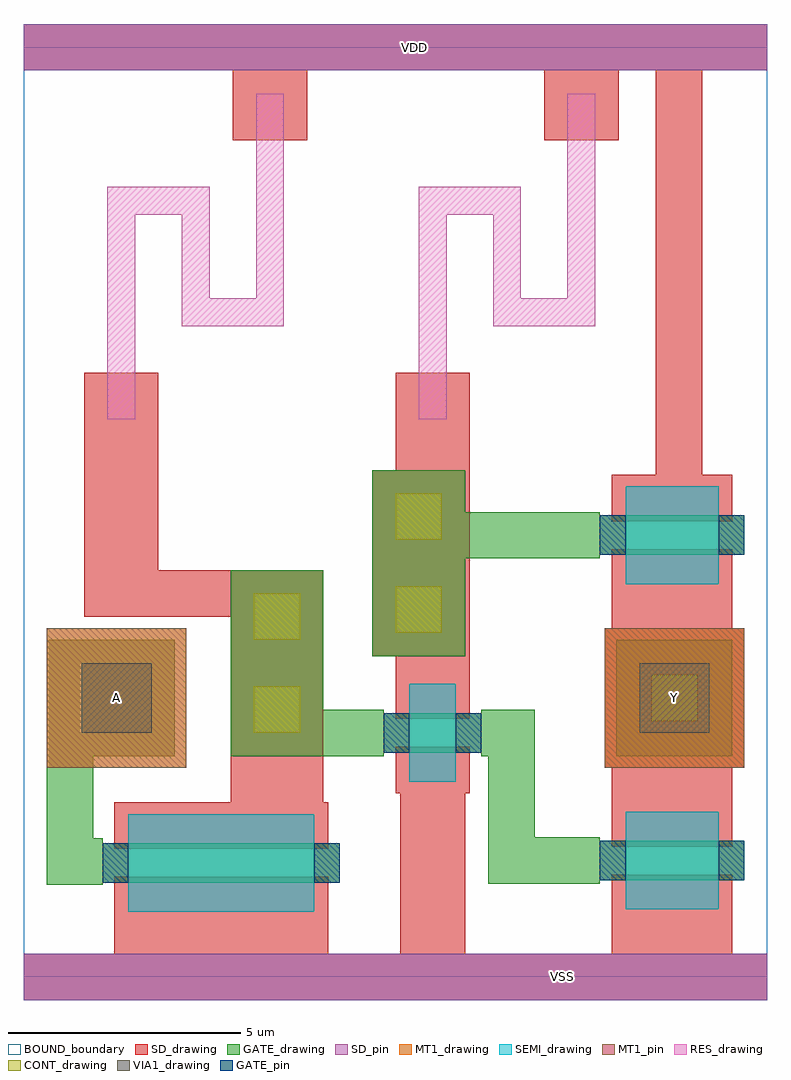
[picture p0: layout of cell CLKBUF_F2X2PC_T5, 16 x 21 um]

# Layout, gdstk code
from math import pi, radians
import gdstk
lib = gdstk.Library(unit=1e-6, precision=1e-09)
def R(c, l, rs):  # rectangles x0, y0, x1, y1
    for r in rs: c.add(gdstk.rectangle(r[:2], r[2:], *l))
def A(c, l, x, y, w, h, nx, ny, dx, dy):  # array of equal rectangles
    R(c, l, [(x+i*dx, y+j*dy, x+i*dx+w, y+j*dy+h) for i in range(nx) for j in range(ny)])
def P(c, l, *ps):  # polygons
    for p in ps: c.add(gdstk.Polygon(p, *l))
RES_drawing = (1, 0)
SEMI_drawing = (3, 0)
SD_drawing = (10, 0)
SD_pin = (10, 3)
GATE_drawing = (11, 0)
GATE_pin = (11, 3)
MT1_drawing = (20, 0)
MT1_pin = (20, 3)
CONT_drawing = (30, 0)
VIA1_drawing = (41, 0)
BOUND_boundary = (150, 5)

nch_cdns_772544864100 = lib.new_cell('nch_CDNS_772544864100')
R(nch_cdns_772544864100, SEMI_drawing, [(-1.05,-2,1.05,2)])
R(nch_cdns_772544864100, SD_drawing, [(-1.3,-2.3,-0.3,2.3), (0.3,-2.3,1.3,2.3)])
R(nch_cdns_772544864100, GATE_drawing, [(-0.425,-2.55,0.425,2.55)])
R(nch_cdns_772544864100, GATE_pin, [(-0.425,-2.55,0.425,-2), (-0.425,2,0.425,2.55)])

res_cdns_772544864101 = lib.new_cell('res_CDNS_772544864101')
A(res_cdns_772544864101, RES_drawing, -1.9, -1.5, 0.6, 3, 3, 1, 1.6, 0)
R(res_cdns_772544864101, RES_drawing, [(1.3,-3.5,1.9,-1.5), (-1.3,-1.5,-0.3,-0.9), (0.3,0.9,1.3,1.5), (-1.9,1.5,-1.3,3.5)])
R(res_cdns_772544864101, SD_drawing, [(0.8,-4,2.4,-2.5), (-2.4,2.5,-0.8,4)])

nch_cdns_772544864102 = lib.new_cell('nch_CDNS_772544864102')
R(nch_cdns_772544864102, SEMI_drawing, [(-1.05,-0.5,1.05,0.5)])
R(nch_cdns_772544864102, SD_drawing, [(-1.3,-0.8,-0.3,0.8), (0.3,-0.8,1.3,0.8)])
R(nch_cdns_772544864102, GATE_drawing, [(-0.425,-1.05,0.425,1.05)])
R(nch_cdns_772544864102, GATE_pin, [(-0.425,-1.05,0.425,-0.5), (-0.425,0.5,0.425,1.05)])

nch_cdns_772544864103 = lib.new_cell('nch_CDNS_772544864103')
R(nch_cdns_772544864103, SEMI_drawing, [(-1.05,-1,1.05,1)])
R(nch_cdns_772544864103, SD_drawing, [(-1.3,-1.3,-0.3,1.3), (0.3,-1.3,1.3,1.3)])
R(nch_cdns_772544864103, GATE_drawing, [(-0.425,-1.55,0.425,1.55)])
R(nch_cdns_772544864103, GATE_pin, [(-0.425,-1.55,0.425,-1), (-0.425,1,0.425,1.55)])

gate_mt1_cdns_7725448641 = lib.new_cell('GATE_MT1_CDNS_772544864100')
R(gate_mt1_cdns_7725448641, GATE_drawing, [(-1.25,-1.25,1.25,1.25)])
R(gate_mt1_cdns_7725448641, MT1_drawing, [(-1.25,-1.25,1.25,1.25)])
R(gate_mt1_cdns_7725448641, VIA1_drawing, [(-0.75,-0.75,0.75,0.75)])

sd_gate_cdns_77254486410 = lib.new_cell('SD_GATE_CDNS_772544864101')
R(sd_gate_cdns_77254486410, SD_drawing, [(-1,-1,1,1)])
R(sd_gate_cdns_77254486410, GATE_drawing, [(-1,-1,1,1)])
R(sd_gate_cdns_77254486410, CONT_drawing, [(-0.5,-0.5,0.5,0.5)])

c_sd_gate_cdns_77254486410 = lib.new_cell('SD_GATE_CDNS_772544864102')
R(c_sd_gate_cdns_77254486410, SD_drawing, [(-2,-1,2,1)])
R(c_sd_gate_cdns_77254486410, GATE_drawing, [(-2,-1,2,1)])
R(c_sd_gate_cdns_77254486410, CONT_drawing, [(-1.5,-0.5,-0.5,0.5), (0.5,-0.5,1.5,0.5)])

clkbuf_f2x2pc_t5 = lib.new_cell('CLKBUF_F2X2PC_T5')
R(clkbuf_f2x2pc_t5, SD_drawing, [(1.95,0.5,6.55,1.15), (4.45,3.75,6.45,4.75), (12.5,4.5,15.5,7.5)])
R(clkbuf_f2x2pc_t5, SD_pin, [(0,-0.5,16,0.5), (0,19.5,16,20.5)])
P(clkbuf_f2x2pc_t5, GATE_drawing, [(1.6,2.975),(1.6,1.975),(1.7,1.975),(1.7,2.075),(1.75,2.075),(1.75,2.825),(1.7,2.825),(1.7,2.975)],
  [(7.65,5.75),(7.65,4.75),(7.75,4.75),(7.75,4.875),(7.8,4.875),(7.8,5.625),(7.75,5.625),(7.75,5.75)],
  [(9.95,4.75),(9.95,5.75),(9.85,5.75),(9.85,5.625),(9.8,5.625),(9.8,4.875),(9.85,4.875),(9.85,4.75)],
  [(12.3,3),(12.3,2),(12.4,2),(12.4,2.125),(12.45,2.125),(12.45,2.875),(12.4,2.875),(12.4,3)],
  [(12.3,10),(12.3,9),(12.4,9),(12.4,9.125),(12.45,9.125),(12.45,9.875),(12.4,9.875),(12.4,10)])
R(clkbuf_f2x2pc_t5, MT1_drawing, [(0.5,4.5,3.5,7.5), (12.5,4.5,15.5,7.5)])
R(clkbuf_f2x2pc_t5, MT1_pin, [(0.5,4.5,3.5,7.5), (12.5,4.5,15.5,7.5)])
R(clkbuf_f2x2pc_t5, BOUND_boundary, [(0,0,16,20)])
clkbuf_f2x2pc_t5.add(gdstk.FlexPath([(9.95,5.25),(10.5,5.25)], 1, ends=(0, 0.5), simple_path=True, layer=11, datatype=0))  # GATE_drawing
clkbuf_f2x2pc_t5.add(gdstk.FlexPath([(2.75,6),(2,6)], 1, ends=(0.5, 0), simple_path=True, layer=11, datatype=0))  # GATE_drawing
clkbuf_f2x2pc_t5.add(gdstk.FlexPath([(10.5,5.25),(10.5,2.5)], 1, ends="extended", simple_path=True, layer=11, datatype=0))  # GATE_drawing
clkbuf_f2x2pc_t5.add(gdstk.FlexPath([(7.65,5.25),(6.45,5.25)], 1, ends="flush", simple_path=True, layer=11, datatype=0))  # GATE_drawing
clkbuf_f2x2pc_t5.add(gdstk.FlexPath([(10.5,2.5),(12.3,2.5)], 1, ends=(0.5, 0), simple_path=True, layer=11, datatype=0))  # GATE_drawing
clkbuf_f2x2pc_t5.add(gdstk.FlexPath([(1.6,2.475),(1,2.475)], 1, ends=(0, 0.5), simple_path=True, layer=11, datatype=0))  # GATE_drawing
clkbuf_f2x2pc_t5.add(gdstk.FlexPath([(1,2.475),(1,7.25)], 1, ends=(0.5, 0), simple_path=True, layer=11, datatype=0))  # GATE_drawing
clkbuf_f2x2pc_t5.add(gdstk.FlexPath([(12.3,9.5),(9.5,9.5)], 1, ends="flush", simple_path=True, layer=11, datatype=0))  # GATE_drawing
clkbuf_f2x2pc_t5.add(gdstk.FlexPath([(5.95,8.25),(2.1,8.25)], 1, ends=(0.5, 0.8), simple_path=True, layer=10, datatype=0))  # SD_drawing
clkbuf_f2x2pc_t5.add(gdstk.FlexPath([(2.1,11.5),(2.1,8.25)], 1.6, ends=(0, 0.5), simple_path=True, layer=10, datatype=0))  # SD_drawing
clkbuf_f2x2pc_t5.add(gdstk.FlexPath([(8.8,0),(16,0)], 1, ends=(0.7, 0), simple_path=True, layer=10, datatype=0))  # SD_drawing
clkbuf_f2x2pc_t5.add(gdstk.FlexPath([(16,20),(14.1,20)], 1, ends=(0, 0.5), simple_path=True, layer=10, datatype=0))  # SD_drawing
clkbuf_f2x2pc_t5.add(gdstk.FlexPath([(9.1,6.55),(9.1,11)], 1, ends=(0, 0.5), simple_path=True, layer=10, datatype=0))  # SD_drawing
clkbuf_f2x2pc_t5.add(gdstk.FlexPath([(8.8,3.95),(8.8,0)], 1.4, ends=(0, 0.5), simple_path=True, layer=10, datatype=0))  # SD_drawing
clkbuf_f2x2pc_t5.add(gdstk.FlexPath([(0,0),(8.8,0)], 1, ends=(0, 0.7), simple_path=True, layer=10, datatype=0))  # SD_drawing
clkbuf_f2x2pc_t5.add(gdstk.FlexPath([(8.5,6.55),(8.5,11)], 1, ends=(0, 0.5), simple_path=True, layer=10, datatype=0))  # SD_drawing
clkbuf_f2x2pc_t5.add(gdstk.FlexPath([(13.95,1.2),(13.95,0)], 2.6, ends=(0, 0.5), simple_path=True, layer=10, datatype=0))  # SD_drawing
clkbuf_f2x2pc_t5.add(gdstk.FlexPath([(13.95,3.8),(13.95,8.2)], 2.6, ends="flush", simple_path=True, layer=10, datatype=0))  # SD_drawing
clkbuf_f2x2pc_t5.add(gdstk.FlexPath([(14.1,10.8),(14.1,20)], 1, ends=(0, 0.5), simple_path=True, layer=10, datatype=0))  # SD_drawing
clkbuf_f2x2pc_t5.add(gdstk.FlexPath([(14.1,20),(0,20)], 1, ends=(0.5, 0), simple_path=True, layer=10, datatype=0))  # SD_drawing
clkbuf_f2x2pc_t5.add(gdstk.Reference(nch_cdns_772544864100, (4.25,2.45), rotation=pi/2))
clkbuf_f2x2pc_t5.add(gdstk.Reference(res_cdns_772544864101, (3.7,15.5), rotation=pi, x_reflection=True))
clkbuf_f2x2pc_t5.add(gdstk.Reference(res_cdns_772544864101, (10.4,15.5), rotation=pi, x_reflection=True))
clkbuf_f2x2pc_t5.add(gdstk.Reference(nch_cdns_772544864102, (8.8,5.25), rotation=pi/2))
clkbuf_f2x2pc_t5.add(gdstk.Reference(nch_cdns_772544864103, (13.95,2.5), rotation=pi/2))
clkbuf_f2x2pc_t5.add(gdstk.Reference(nch_cdns_772544864103, (13.95,9.5), rotation=pi/2))
clkbuf_f2x2pc_t5.add(gdstk.Reference(gate_mt1_cdns_7725448641, (14,6)))
clkbuf_f2x2pc_t5.add(gdstk.Reference(gate_mt1_cdns_7725448641, (2,6)))
clkbuf_f2x2pc_t5.add(gdstk.Reference(sd_gate_cdns_77254486410, (14,6)))
clkbuf_f2x2pc_t5.add(gdstk.Reference(c_sd_gate_cdns_77254486410, (8.5,8.9), rotation=pi/2))
clkbuf_f2x2pc_t5.add(gdstk.Reference(c_sd_gate_cdns_77254486410, (5.45,6.75), rotation=pi/2))
clkbuf_f2x2pc_t5.add(gdstk.Label('A', (2,6), layer=20, texttype=3))
clkbuf_f2x2pc_t5.add(gdstk.Label('Y', (14,6), layer=20, texttype=3))
clkbuf_f2x2pc_t5.add(gdstk.Label('VDD', (8.4,20), layer=10, texttype=3))
clkbuf_f2x2pc_t5.add(gdstk.Label('VSS', (11.6,0), layer=10, texttype=3))

lib.write_gds('CLKBUF_F2X2PC_T5.gds')
